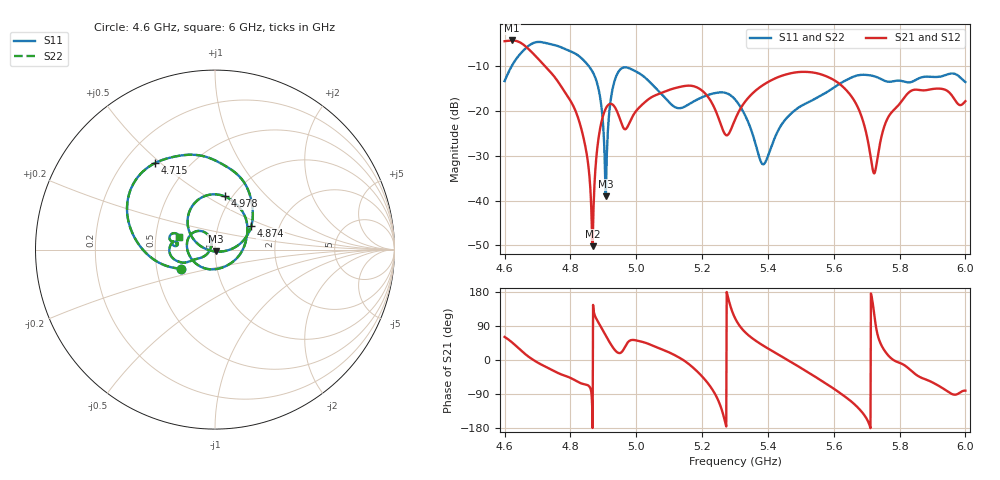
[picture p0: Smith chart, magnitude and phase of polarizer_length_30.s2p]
! TOUCHSTONE file generated by CST MICROWAVE STUDIO
! Date and time: Sun Dec  1 17:17:06 2024
! Project name: test_tuning.cst
! Parameters = {airCoaxOuterDiameter=3; chamferAngle=45; chamferWidth=24; connectorLength=10; drillingHoleDiameter=4.1; feedLength=60; flareDiameter=130; flareLength=70; gratingDistance=0; gratingGap=1.90274; outletLength=30; polarizerLength=122; probe1Diameter=1.3; probe1Distance=14; probe1Length=1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
! Header version: 2024
! Port assignment regex: !\s*Touchstone port\s*([0-9]+)\s*=\s*(CST MWS port|CST DES external port|CST DES block port)\s*(.+)\s* \(\"(.*)\"\)(\s*mode\s*([0-9]+))?.*
! Touchstone port assignment:
! Touchstone port 1 = CST MWS port 1 ("Input1")
! Touchstone port 2 = CST MWS port 2 ("Input2")
# GHz S MA R 50
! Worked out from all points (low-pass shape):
!   1001 points, 4.6 GHz to 6 GHz, reference 50 ohm
!   highest |S21| = -4.23 dB at 4.622 GHz (marker M1); lowest = -50.2 dB at 4.867 GHz (marker M2)
!   |S21| within 3 dB of the highest: start of sweep to 4.688 GHz
!   lowest |S11| = -39.0 dB at 4.907 GHz (marker M3), VSWR 1.02, Z = 50.4 - j1.06 ohm
!   |S11| at or under -10 dB: start of sweep to 4.62119 GHz; 4.856 GHz to end of sweep
!   |S22| runs from -39.0 to -4.6 dB; largest |S21 - S12| = 1.6e-06
!   S11 on the Smith chart (normalised r, x): 4.6 GHz: 0.67, -0.15; 4.715 GHz: 0.33, +0.48; 4.874 GHz: 1.44, +0.40; 4.978 GHz: 0.92, +0.60; 6 GHz: 0.66, +0.10
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4.6  0.2165 -150.4  0.6032 61.0  0.6032 61.0  0.2165 -150.4
4.6224  0.322 -167.1  0.6147 46.6  0.6147 46.6  0.322 -167.1
4.7148  0.5866 124.8  0.3413 -13.5  0.3413 -13.5  0.5866 124.8
4.8338  0.3889 62.6  0.06186 -62.0  0.06186 -62.0  0.3889 62.6
4.8674  0.274 39.9  0.003096 -179.3  0.003096 -179.3  0.274 39.9
4.8744  0.2417 33.1  0.01869 116.7  0.01869 116.7  0.2417 33.1
4.8856  0.1756 19.6  0.05045 98.2  0.05045 98.2  0.1756 19.6
4.9066  0.01117 -69.9  0.1053 65.7  0.1053 65.7  0.01117 -69.9
4.9332  0.2117 136.1  0.1129 28.2  0.1129 28.2  0.2117 136.1
4.978  0.3014 79.7  0.07215 49.7  0.07215 49.7  0.3014 79.7
5.0676  0.168 9.2  0.1549 31.5  0.1549 31.5  0.168 9.2
5.1782  0.1304 -141.5  0.1876 -24.5  0.1876 -24.5  0.1304 -141.5
5.272  0.1593 148.9  0.05405 -170.5  0.05405 -170.5  0.1593 148.9
5.3  0.1351 129.5  0.08015 110.7  0.08015 110.7  0.1351 129.5
5.3854  0.02541 159.9  0.1955 38.1  0.1955 38.1  0.02541 159.9
5.4498  0.07785 -148.9  0.2532 5.1  0.2532 5.1  0.07785 -148.9
5.5338  0.1313 -154.5  0.2706 -38.8  0.2706 -38.8  0.1313 -154.5
5.6598  0.2419 -169.2  0.1354 -114.3  0.1354 -114.3  0.2419 -169.2
5.7214  0.2458 172.4  0.02034 131.9  0.02034 131.9  0.2458 172.4
5.7676  0.2123 170.3  0.08804 10.1  0.08804 10.1  0.2123 170.3
5.8446  0.2181 174.7  0.173 -35.0  0.173 -35.0  0.2181 174.7
6  0.2112 160.7  0.129 -81.0  0.129 -81.0  0.2112 160.7
